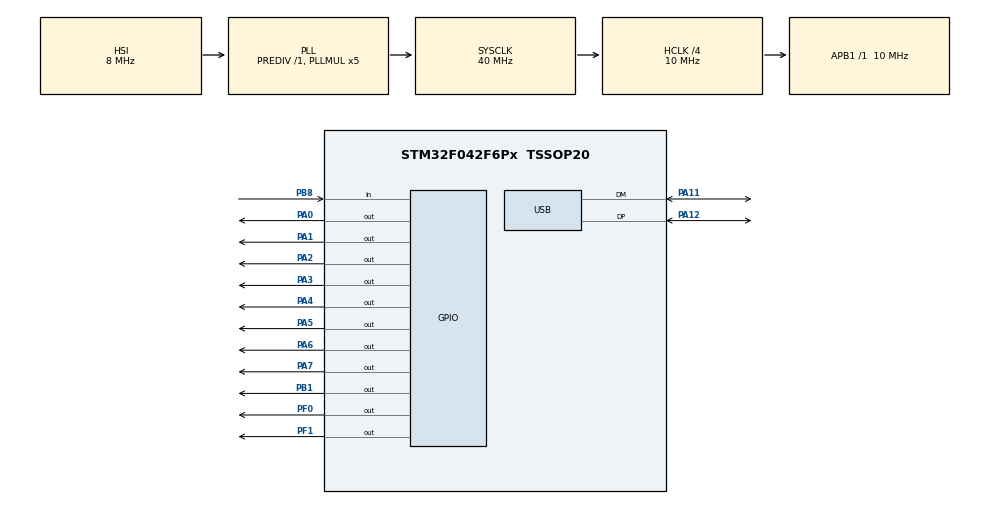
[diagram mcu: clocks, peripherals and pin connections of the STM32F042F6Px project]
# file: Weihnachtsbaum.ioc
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Mcu.Family=STM32F0
Mcu.Name=STM32F042F6Px
Mcu.Package=TSSOP20
PA0.Signal=GPIO_Output
PA1.Signal=GPIO_Output
PA11.Mode=Device
PA11.Signal=USB_DM
PA12.Mode=Device
PA12.Signal=USB_DP
PA13.Mode=Serial_Wire
PA13.Signal=SYS_SWDIO
PA14.Mode=Serial_Wire
PA14.Signal=SYS_SWCLK
PA2.Signal=GPIO_Output
PA3.Signal=GPIO_Output
PA4.Signal=GPIO_Output
PA5.Signal=GPIO_Output
PA6.Signal=GPIO_Output
PA7.Signal=GPIO_Output
PB1.Signal=GPIO_Output
PB8.Signal=GPIO_Input
PF0-OSC_IN.Signal=GPIO_Output
PF1-OSC_OUT.Signal=GPIO_Output
ProjectManager.HeapSize=0x200
ProjectManager.StackSize=0x400
ProjectManager.TargetToolchain=STM32CubeIDE
RCC.AHBCLKDivider=RCC_SYSCLK_DIV4
RCC.AHBFreq_Value=10000000
RCC.APB1Freq_Value=10000000
RCC.APB1TimFreq_Value=10000000
RCC.HCLKFreq_Value=10000000
RCC.PLLMUL=RCC_PLL_MUL5
RCC.SYSCLKFreq_VALUE=40000000
RCC.SYSCLKSource=RCC_SYSCLKSOURCE_PLLCLK
VP_SYS_VS_PINREMAP.Mode=PINREMAP
board=custom

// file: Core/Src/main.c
/* USER CODE BEGIN Header */
/**
  ******************************************************************************
  * @file           : main.c
  * @brief          : Main program body
  ******************************************************************************
  * @attention
  *
  * Copyright (c) 2025 STMicroelectronics.
  * All rights reserved.
  *
  * This software is licensed under terms that can be found in the LICENSE file
  * in the root directory of this software component.
  * If no LICENSE file comes with this software, it is provided AS-IS.
  *
  ******************************************************************************
  */
/* USER CODE END Header */
#include "main.h"

PCD_HandleTypeDef hpcd_USB_FS;

void SystemClock_Config(void);
static void MX_GPIO_Init(void);
static void MX_USB_PCD_Init(void);

/* USER CODE BEGIN 0 */

// select which led branch/arm {0..4] and set the direction of current through the bidir LED [0,1]
int led_arm(int idx, int dir){

	if (idx==0 && dir==0){
		HAL_GPIO_WritePin(GPIOA, GPIO_PIN_0, GPIO_PIN_SET);
		HAL_GPIO_WritePin(GPIOA, GPIO_PIN_1, GPIO_PIN_RESET);
	}else if (idx==0 && dir==1){
		HAL_GPIO_WritePin(GPIOA, GPIO_PIN_0, GPIO_PIN_RESET);
		HAL_GPIO_WritePin(GPIOA, GPIO_PIN_1, GPIO_PIN_SET);
	}else if(idx==1 && dir==0){
		HAL_GPIO_WritePin(GPIOA, GPIO_PIN_2, GPIO_PIN_SET);
		HAL_GPIO_WritePin(GPIOA, GPIO_PIN_3, GPIO_PIN_RESET);
	}else if (idx==1 && dir==1){
		HAL_GPIO_WritePin(GPIOA, GPIO_PIN_2, GPIO_PIN_RESET);
		HAL_GPIO_WritePin(GPIOA, GPIO_PIN_3, GPIO_PIN_SET);
	}else if (idx==2 && dir==0){
		HAL_GPIO_WritePin(GPIOA, GPIO_PIN_4, GPIO_PIN_SET);
		HAL_GPIO_WritePin(GPIOA, GPIO_PIN_5, GPIO_PIN_RESET);
	}else if (idx==2 && dir==1){
		HAL_GPIO_WritePin(GPIOA, GPIO_PIN_4, GPIO_PIN_RESET);
		HAL_GPIO_WritePin(GPIOA, GPIO_PIN_5, GPIO_PIN_SET);
	}else if (idx==3 && dir==0){
		HAL_GPIO_WritePin(GPIOA, GPIO_PIN_6, GPIO_PIN_SET);
		HAL_GPIO_WritePin(GPIOA, GPIO_PIN_7, GPIO_PIN_RESET);
	}else if (idx==3 && dir==1){
		HAL_GPIO_WritePin(GPIOA, GPIO_PIN_6, GPIO_PIN_RESET);
		HAL_GPIO_WritePin(GPIOA, GPIO_PIN_7, GPIO_PIN_SET);
	}else if (idx==4 && dir==0){
		HAL_GPIO_WritePin(GPIOF, GPIO_PIN_0, GPIO_PIN_SET);
		HAL_GPIO_WritePin(GPIOF, GPIO_PIN_1, GPIO_PIN_RESET);
	}else if (idx==4 && dir==1){
		HAL_GPIO_WritePin(GPIOF, GPIO_PIN_0, GPIO_PIN_RESET);
		HAL_GPIO_WritePin(GPIOF, GPIO_PIN_1, GPIO_PIN_SET);
	}
	return 0;
}

int counter;
int fade;
int fade2;
int fade3;
int mode;

/* USER CODE END 0 */

int main(void)
{

  /* MCU Configuration--------------------------------------------------------*/

  /* Reset of all peripherals, Initializes the Flash interface and the Systick. */
  HAL_Init();

  /* Configure the system clock */
  SystemClock_Config();

  /* Initialize all configured peripherals */
  MX_GPIO_Init();
  MX_USB_PCD_Init();
  /* USER CODE BEGIN 2 */

  counter = 0;

  fade = 0;
  fade2 = 400;
  fade3 = 1400;
  mode = 0;

  /* USER CODE END 2 */

  /* Infinite loop */
  /* USER CODE BEGIN WHILE */
  while (1)
  {

	  if (HAL_GPIO_ReadPin(GPIOB, GPIO_PIN_8) == 1){

		  if(mode==0){
			  mode=1;
		  }else{
			  mode=0;
			  fade = 0;
			  fade2 = 400;
			  fade3 = 1400;
		  }
	  }

	  if (mode == 0) {

		  counter++;
		  fade++;
		  fade2++;
		  fade3++;

		  if (counter > 9) {
			  counter = 0;
			  fade++;
			  if (fade>13999){
				  fade=0;
			  }
			  if (fade2>11999){
				  fade2=0;
			  }
			  if (fade3>12999){
				  fade3=0;
			  }
		  }

		  if (counter > (int)abs(fade/700-20)){
			  led_arm(0,1);
		  }else{
			  led_arm(0,0);
		  }
		  if (counter > (int)abs(fade2/600-20)){
			  led_arm(1,1);
		  }else{
			  led_arm(1,0);
		  }
		  if (counter > (int)abs(fade3/650-20)){
			  led_arm(2,1);
		  }else{
			  led_arm(2,0);
		  }
		  if (counter > (int)abs(fade2/600-20)){
			  led_arm(3,1);
		  }else{
			  led_arm(3,0);
		  }
		  if (counter > (int)abs(fade3/650-20)){
			  led_arm(4,1);
		  }else{
			  led_arm(4,0);
		  }
		  /*led_arm(1,0);
		  led_arm(2,0);
		  led_arm(3,0);
		  led_arm(4,0);*/
		  //HAL_Delay(0);

	  }else{

		// Group A-0/1
		HAL_GPIO_WritePin(GPIOA, GPIO_PIN_0, GPIO_PIN_SET);
		HAL_GPIO_WritePin(GPIOA, GPIO_PIN_1, GPIO_PIN_RESET);
		HAL_GPIO_WritePin(GPIOA, GPIO_PIN_2, GPIO_PIN_RESET);
		HAL_GPIO_WritePin(GPIOA, GPIO_PIN_3, GPIO_PIN_SET);
		HAL_GPIO_WritePin(GPIOA, GPIO_PIN_4, GPIO_PIN_RESET);
		HAL_GPIO_WritePin(GPIOA, GPIO_PIN_5, GPIO_PIN_RESET);
		HAL_GPIO_WritePin(GPIOA, GPIO_PIN_6, GPIO_PIN_SET);
		HAL_GPIO_WritePin(GPIOA, GPIO_PIN_7, GPIO_PIN_RESET);
		HAL_GPIO_WritePin(GPIOF, GPIO_PIN_0, GPIO_PIN_SET);
		HAL_GPIO_WritePin(GPIOF, GPIO_PIN_1, GPIO_PIN_RESET);
		HAL_Delay(1000);
		HAL_GPIO_WritePin(GPIOA, GPIO_PIN_0, GPIO_PIN_RESET);
		HAL_GPIO_WritePin(GPIOA, GPIO_PIN_1, GPIO_PIN_SET);
		HAL_GPIO_WritePin(GPIOA, GPIO_PIN_2, GPIO_PIN_RESET);
		HAL_GPIO_WritePin(GPIOA, GPIO_PIN_3, GPIO_PIN_SET);
		HAL_GPIO_WritePin(GPIOA, GPIO_PIN_4, GPIO_PIN_RESET);
		HAL_GPIO_WritePin(GPIOA, GPIO_PIN_5, GPIO_PIN_RESET);
		HAL_GPIO_WritePin(GPIOA, GPIO_PIN_6, GPIO_PIN_SET);
		HAL_GPIO_WritePin(GPIOA, GPIO_PIN_7, GPIO_PIN_RESET);
		HAL_GPIO_WritePin(GPIOF, GPIO_PIN_0, GPIO_PIN_SET);
		HAL_GPIO_WritePin(GPIOF, GPIO_PIN_1, GPIO_PIN_RESET);
		HAL_Delay(1000);

		// Group A-2/3
		HAL_GPIO_WritePin(GPIOA, GPIO_PIN_0, GPIO_PIN_SET);
		HAL_GPIO_WritePin(GPIOA, GPIO_PIN_1, GPIO_PIN_RESET);
		HAL_GPIO_WritePin(GPIOA, GPIO_PIN_2, GPIO_PIN_SET);
		HAL_GPIO_WritePin(GPIOA, GPIO_PIN_3, GPIO_PIN_RESET);
		HAL_GPIO_WritePin(GPIOA, GPIO_PIN_4, GPIO_PIN_SET);
		HAL_GPIO_WritePin(GPIOA, GPIO_PIN_5, GPIO_PIN_RESET);
		HAL_GPIO_WritePin(GPIOA, GPIO_PIN_6, GPIO_PIN_SET);
		HAL_GPIO_WritePin(GPIOA, GPIO_PIN_7, GPIO_PIN_RESET);
		HAL_GPIO_WritePin(GPIOF, GPIO_PIN_0, GPIO_PIN_SET);
		HAL_GPIO_WritePin(GPIOF, GPIO_PIN_1, GPIO_PIN_RESET);
		HAL_Delay(1000);
		HAL_GPIO_WritePin(GPIOA, GPIO_PIN_0, GPIO_PIN_RESET);
		HAL_GPIO_WritePin(GPIOA, GPIO_PIN_1, GPIO_PIN_SET);
		HAL_GPIO_WritePin(GPIOA, GPIO_PIN_2, GPIO_PIN_RESET);
		HAL_GPIO_WritePin(GPIOA, GPIO_PIN_3, GPIO_PIN_SET);
		HAL_GPIO_WritePin(GPIOA, GPIO_PIN_4, GPIO_PIN_SET);
		HAL_GPIO_WritePin(GPIOA, GPIO_PIN_5, GPIO_PIN_RESET);
		HAL_GPIO_WritePin(GPIOA, GPIO_PIN_6, GPIO_PIN_SET);
		HAL_GPIO_WritePin(GPIOA, GPIO_PIN_7, GPIO_PIN_RESET);
		HAL_GPIO_WritePin(GPIOF, GPIO_PIN_0, GPIO_PIN_RESET);
		HAL_GPIO_WritePin(GPIOF, GPIO_PIN_1, GPIO_PIN_SET);
		HAL_Delay(1000);

		// Group A-4/5
		HAL_GPIO_WritePin(GPIOA, GPIO_PIN_0, GPIO_PIN_RESET);
		HAL_GPIO_WritePin(GPIOA, GPIO_PIN_1, GPIO_PIN_SET);
		HAL_GPIO_WritePin(GPIOA, GPIO_PIN_2, GPIO_PIN_RESET);
		HAL_GPIO_WritePin(GPIOA, GPIO_PIN_3, GPIO_PIN_SET);
		HAL_GPIO_WritePin(GPIOA, GPIO_PIN_4, GPIO_PIN_SET);
		HAL_GPIO_WritePin(GPIOA, GPIO_PIN_5, GPIO_PIN_RESET);
		HAL_GPIO_WritePin(GPIOA, GPIO_PIN_6, GPIO_PIN_RESET);
		HAL_GPIO_WritePin(GPIOA, GPIO_PIN_7, GPIO_PIN_SET);
		HAL_GPIO_WritePin(GPIOF, GPIO_PIN_0, GPIO_PIN_RESET);
		HAL_GPIO_WritePin(GPIOF, GPIO_PIN_1, GPIO_PIN_SET);
		HAL_Delay(1000);
		HAL_GPIO_WritePin(GPIOA, GPIO_PIN_0, GPIO_PIN_SET);
		HAL_GPIO_WritePin(GPIOA, GPIO_PIN_1, GPIO_PIN_RESET);
		HAL_GPIO_WritePin(GPIOA, GPIO_PIN_2, GPIO_PIN_RESET);
		HAL_GPIO_WritePin(GPIOA, GPIO_PIN_3, GPIO_PIN_SET);
		HAL_GPIO_WritePin(GPIOA, GPIO_PIN_4, GPIO_PIN_RESET);
		HAL_GPIO_WritePin(GPIOA, GPIO_PIN_5, GPIO_PIN_SET);
		HAL_GPIO_WritePin(GPIOA, GPIO_PIN_6, GPIO_PIN_SET);
		HAL_GPIO_WritePin(GPIOA, GPIO_PIN_7, GPIO_PIN_RESET);
		HAL_GPIO_WritePin(GPIOF, GPIO_PIN_0, GPIO_PIN_SET);
		HAL_GPIO_WritePin(GPIOF, GPIO_PIN_1, GPIO_PIN_RESET);
		HAL_Delay(1000);

		// Group A-6/7
		HAL_GPIO_WritePin(GPIOA, GPIO_PIN_0, GPIO_PIN_RESET);
		HAL_GPIO_WritePin(GPIOA, GPIO_PIN_1, GPIO_PIN_SET);
		HAL_GPIO_WritePin(GPIOA, GPIO_PIN_2, GPIO_PIN_RESET);
		HAL_GPIO_WritePin(GPIOA, GPIO_PIN_3, GPIO_PIN_SET);
		HAL_GPIO_WritePin(GPIOA, GPIO_PIN_4, GPIO_PIN_SET);
		HAL_GPIO_WritePin(GPIOA, GPIO_PIN_5, GPIO_PIN_RESET);
		HAL_GPIO_WritePin(GPIOA, GPIO_PIN_6, GPIO_PIN_SET);
		HAL_GPIO_WritePin(GPIOA, GPIO_PIN_7, GPIO_PIN_RESET);
		HAL_GPIO_WritePin(GPIOF, GPIO_PIN_0, GPIO_PIN_RESET);
		HAL_GPIO_WritePin(GPIOF, GPIO_PIN_1, GPIO_PIN_SET);
		HAL_Delay(1000);
		HAL_GPIO_WritePin(GPIOA, GPIO_PIN_0, GPIO_PIN_SET);
		HAL_GPIO_WritePin(GPIOA, GPIO_PIN_1, GPIO_PIN_RESET);
		HAL_GPIO_WritePin(GPIOA, GPIO_PIN_2, GPIO_PIN_RESET);
		HAL_GPIO_WritePin(GPIOA, GPIO_PIN_3, GPIO_PIN_SET);
		HAL_GPIO_WritePin(GPIOA, GPIO_PIN_4, GPIO_PIN_RESET);
		HAL_GPIO_WritePin(GPIOA, GPIO_PIN_5, GPIO_PIN_SET);
		HAL_GPIO_WritePin(GPIOA, GPIO_PIN_6, GPIO_PIN_RESET);
		HAL_GPIO_WritePin(GPIOA, GPIO_PIN_7, GPIO_PIN_SET);
		HAL_GPIO_WritePin(GPIOF, GPIO_PIN_0, GPIO_PIN_SET);
		HAL_GPIO_WritePin(GPIOF, GPIO_PIN_1, GPIO_PIN_RESET);
		HAL_Delay(1000);

		// Group F-0/1
		HAL_GPIO_WritePin(GPIOA, GPIO_PIN_0, GPIO_PIN_SET);
		HAL_GPIO_WritePin(GPIOA, GPIO_PIN_1, GPIO_PIN_RESET);
		HAL_GPIO_WritePin(GPIOA, GPIO_PIN_2, GPIO_PIN_RESET);
		HAL_GPIO_WritePin(GPIOA, GPIO_PIN_3, GPIO_PIN_SET);
		HAL_GPIO_WritePin(GPIOA, GPIO_PIN_4, GPIO_PIN_RESET);
		HAL_GPIO_WritePin(GPIOA, GPIO_PIN_5, GPIO_PIN_SET);
		HAL_GPIO_WritePin(GPIOA, GPIO_PIN_6, GPIO_PIN_SET);
		HAL_GPIO_WritePin(GPIOA, GPIO_PIN_7, GPIO_PIN_RESET);
		HAL_GPIO_WritePin(GPIOF, GPIO_PIN_0, GPIO_PIN_SET);
		HAL_GPIO_WritePin(GPIOF, GPIO_PIN_1, GPIO_PIN_RESET);
		HAL_Delay(1000);
		HAL_GPIO_WritePin(GPIOA, GPIO_PIN_0, GPIO_PIN_RESET);
		HAL_GPIO_WritePin(GPIOA, GPIO_PIN_1, GPIO_PIN_SET);
		HAL_GPIO_WritePin(GPIOA, GPIO_PIN_2, GPIO_PIN_SET);
		HAL_GPIO_WritePin(GPIOA, GPIO_PIN_3, GPIO_PIN_RESET);
		HAL_GPIO_WritePin(GPIOA, GPIO_PIN_4, GPIO_PIN_RESET);
		HAL_GPIO_WritePin(GPIOA, GPIO_PIN_5, GPIO_PIN_SET);
		HAL_GPIO_WritePin(GPIOA, GPIO_PIN_6, GPIO_PIN_SET);
		HAL_GPIO_WritePin(GPIOA, GPIO_PIN_7, GPIO_PIN_RESET);
		HAL_GPIO_WritePin(GPIOF, GPIO_PIN_0, GPIO_PIN_RESET);
		HAL_GPIO_WritePin(GPIOF, GPIO_PIN_1, GPIO_PIN_SET);
		HAL_Delay(1000);
	  }

    /* USER CODE END WHILE */

  }
}

void SystemClock_Config(void)
{
  RCC_OscInitTypeDef RCC_OscInitStruct = {0};
  RCC_ClkInitTypeDef RCC_ClkInitStruct = {0};
  RCC_PeriphCLKInitTypeDef PeriphClkInit = {0};

  /** Initializes the RCC Oscillators according to the specified parameters
  * in the RCC_OscInitTypeDef structure.
  */
  RCC_OscInitStruct.OscillatorType = RCC_OSCILLATORTYPE_HSI|RCC_OSCILLATORTYPE_HSI48;
  RCC_OscInitStruct.HSIState = RCC_HSI_ON;
  RCC_OscInitStruct.HSI48State = RCC_HSI48_ON;
  RCC_OscInitStruct.HSICalibrationValue = RCC_HSICALIBRATION_DEFAULT;
  RCC_OscInitStruct.PLL.PLLState = RCC_PLL_ON;
  RCC_OscInitStruct.PLL.PLLSource = RCC_PLLSOURCE_HSI;
  RCC_OscInitStruct.PLL.PLLMUL = RCC_PLL_MUL5;
  RCC_OscInitStruct.PLL.PREDIV = RCC_PREDIV_DIV1;
  if (HAL_RCC_OscConfig(&RCC_OscInitStruct) != HAL_OK)
  {
    Error_Handler();
  }

  /** Initializes the CPU, AHB and APB buses clocks
  */
  RCC_ClkInitStruct.ClockType = RCC_CLOCKTYPE_HCLK|RCC_CLOCKTYPE_SYSCLK
                              |RCC_CLOCKTYPE_PCLK1;
  RCC_ClkInitStruct.SYSCLKSource = RCC_SYSCLKSOURCE_PLLCLK;
  RCC_ClkInitStruct.AHBCLKDivider = RCC_SYSCLK_DIV4;
  RCC_ClkInitStruct.APB1CLKDivider = RCC_HCLK_DIV1;

  if (HAL_RCC_ClockConfig(&RCC_ClkInitStruct, FLASH_LATENCY_1) != HAL_OK)
  {
    Error_Handler();
  }
  PeriphClkInit.PeriphClockSelection = RCC_PERIPHCLK_USB;
  PeriphClkInit.UsbClockSelection = RCC_USBCLKSOURCE_HSI48;

  if (HAL_RCCEx_PeriphCLKConfig(&PeriphClkInit) != HAL_OK)
  {
    Error_Handler();
  }
}

static void MX_USB_PCD_Init(void)
{

  hpcd_USB_FS.Instance = USB;
  hpcd_USB_FS.Init.dev_endpoints = 8;
  hpcd_USB_FS.Init.speed = PCD_SPEED_FULL;
  hpcd_USB_FS.Init.phy_itface = PCD_PHY_EMBEDDED;
  hpcd_USB_FS.Init.low_power_enable = DISABLE;
  hpcd_USB_FS.Init.lpm_enable = DISABLE;
  hpcd_USB_FS.Init.battery_charging_enable = DISABLE;
  if (HAL_PCD_Init(&hpcd_USB_FS) != HAL_OK)
  {
    Error_Handler();
  }

}

static void MX_GPIO_Init(void)
{
  GPIO_InitTypeDef GPIO_InitStruct = {0};

  /* GPIO Ports Clock Enable */
  __HAL_RCC_GPIOB_CLK_ENABLE();
  __HAL_RCC_GPIOF_CLK_ENABLE();
  __HAL_RCC_GPIOA_CLK_ENABLE();

  /*Configure GPIO pin Output Level */
  HAL_GPIO_WritePin(GPIOF, GPIO_PIN_0|GPIO_PIN_1, GPIO_PIN_RESET);

  /*Configure GPIO pin Output Level */
  HAL_GPIO_WritePin(GPIOA, GPIO_PIN_0|GPIO_PIN_1|GPIO_PIN_2|GPIO_PIN_3
                          |GPIO_PIN_4|GPIO_PIN_5|GPIO_PIN_6|GPIO_PIN_7, GPIO_PIN_RESET);

  /*Configure GPIO pin Output Level */
  HAL_GPIO_WritePin(GPIOB, GPIO_PIN_1, GPIO_PIN_RESET);

  /*Configure GPIO pin : PB8 */
  GPIO_InitStruct.Pin = GPIO_PIN_8;
  GPIO_InitStruct.Mode = GPIO_MODE_INPUT;
  GPIO_InitStruct.Pull = GPIO_NOPULL;
  HAL_GPIO_Init(GPIOB, &GPIO_InitStruct);

  /*Configure GPIO pins : PF0 PF1 */
  GPIO_InitStruct.Pin = GPIO_PIN_0|GPIO_PIN_1;
  GPIO_InitStruct.Mode = GPIO_MODE_OUTPUT_PP;
  GPIO_InitStruct.Pull = GPIO_NOPULL;
  GPIO_InitStruct.Speed = GPIO_SPEED_FREQ_LOW;
  HAL_GPIO_Init(GPIOF, &GPIO_InitStruct);

  /*Configure GPIO pins : PA0 PA1 PA2 PA3
                           PA4 PA5 PA6 PA7 */
  GPIO_InitStruct.Pin = GPIO_PIN_0|GPIO_PIN_1|GPIO_PIN_2|GPIO_PIN_3
                          |GPIO_PIN_4|GPIO_PIN_5|GPIO_PIN_6|GPIO_PIN_7;
  GPIO_InitStruct.Mode = GPIO_MODE_OUTPUT_PP;
  GPIO_InitStruct.Pull = GPIO_NOPULL;
  GPIO_InitStruct.Speed = GPIO_SPEED_FREQ_LOW;
  HAL_GPIO_Init(GPIOA, &GPIO_InitStruct);

  /*Configure GPIO pin : PB1 */
  GPIO_InitStruct.Pin = GPIO_PIN_1;
  GPIO_InitStruct.Mode = GPIO_MODE_OUTPUT_PP;
  GPIO_InitStruct.Pull = GPIO_NOPULL;
  GPIO_InitStruct.Speed = GPIO_SPEED_FREQ_LOW;
  HAL_GPIO_Init(GPIOB, &GPIO_InitStruct);

}

void Error_Handler(void)
{
  __disable_irq();
  while (1)
  {
  }
}
